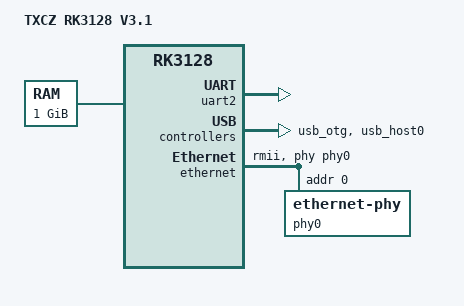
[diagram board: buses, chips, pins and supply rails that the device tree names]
/dts-v1/;
#include "rk3128.dtsi"

/ {
    model = "TXCZ RK3128 V3.1";
    compatible = "txcz,rk3128-v3.1", "rockchip,rk3128";

    memory@60000000 {
        reg = <0x60000000 0x40000000>; /* 1GB内存（若你的设备是512MB，改为0x20000000） */
    };

    chosen {
        bootargs = "console=ttyS2,115200n8 root=/dev/mmcblk0p2 rw rootwait earlyprintk";
    };
};

&uart2 {
    status = "okay"; /* 串口调试（若你的设备串口是其他引脚，需修改） */
};

&usb_otg {
    status = "okay"; /* USB OTG接口（接打印机） */
};

&usb_host0 {
    status = "okay"; /* USB Host接口 */
};

&ethernet {
    status = "okay"; /* 以太网口（若你的设备无网口，注释此行） */
    phy = <&phy0>;
    phy-mode = "rmii";
    pinctrl-names = "default";
    pinctrl-0 = <&rmii_pins>;

    phy0: ethernet-phy@0 {
        reg = <0>;
    };
};

&pinctrl {
    rmii_pins: rmii-pins {
        rockchip,pins =
            <1 16 RK_FUNC_1 &pcfg_pull_none>, /* RMII_TXD0 */
            <1 17 RK_FUNC_1 &pcfg_pull_none>, /* RMII_TXD1 */
            <1 18 RK_FUNC_1 &pcfg_pull_none>, /* RMII_TXEN */
            <1 19 RK_FUNC_1 &pcfg_pull_none>, /* RMII_CRS_DV */
            <1 20 RK_FUNC_1 &pcfg_pull_none>, /* RMII_RXD0 */
            <1 21 RK_FUNC_1 &pcfg_pull_none>, /* RMII_RXD1 */
            <1 22 RK_FUNC_1 &pcfg_pull_none>; /* RMII_REF_CLK */
    };
};
